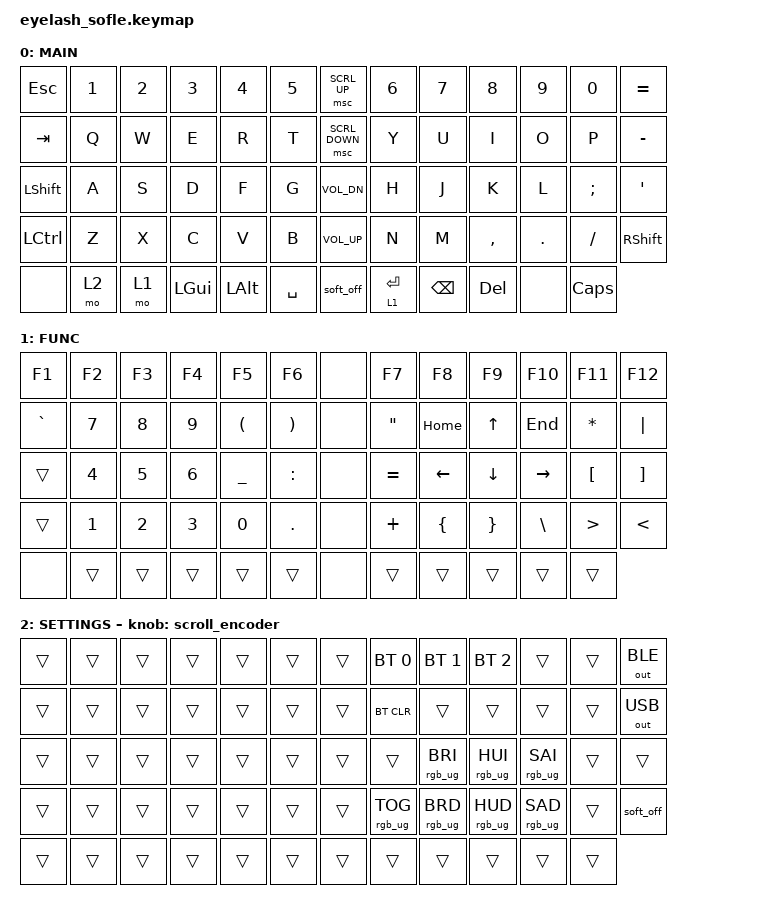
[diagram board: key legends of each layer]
#define ZMK_POINTING_DEFAULT_MOVE_VAL 1200  // 600
#define ZMK_POINTING_DEFAULT_SCRL_VAL 25   // 10

#include <input/processors.dtsi>
#include <zephyr/dt-bindings/input/input-event-codes.h>
#include <behaviors.dtsi>
#include <dt-bindings/zmk/bt.h>
#include <dt-bindings/zmk/keys.h>
#include <dt-bindings/zmk/outputs.h>
#include <dt-bindings/zmk/pointing.h>
#include <dt-bindings/zmk/rgb.h>

&mmv_input_listener { input-processors = <&zip_xy_scaler 2 1>; };

&msc_input_listener { input-processors = <&zip_scroll_scaler 2 1>; };

&msc {
    acceleration-exponent = <1>;      // 0
    time-to-max-speed-ms = <100>;       // 300
    delay-ms = <0>;                   // 0
};

&mmv {
    time-to-max-speed-ms = <500>;
    acceleration-exponent = <1>;
    trigger-period-ms = <16>;
};

&soft_off { hold-time-ms = <2000>; };

/ {
    scroll_encoder: scroll_encoder {
        compatible = "zmk,behavior-sensor-rotate";
        #sensor-binding-cells = <0>;
        bindings = <&msc SCRL_DOWN>, <&msc SCRL_UP>;

        tap-ms = <100>;
    };

    behaviors {
    };

    combos {
        compatible = "zmk,combos";

        softoff {
            bindings = <&soft_off>;
            key-positions = <14 28 40>;
        };
    };

    keymap {
        compatible = "zmk,keymap";

        MAIN {
            bindings = <
&kp ESC    &kp N1  &kp N2  &kp N3        &kp N4        &kp N5       &msc SCRL_UP    &kp N6       &kp N7         &kp N8      &kp N9   &kp N0        &kp EQUAL
&kp TAB    &kp Q   &kp W   &kp E         &kp R         &kp T        &msc SCRL_DOWN  &kp Y        &kp U          &kp I       &kp O    &kp P         &kp MINUS
&kp LSHFT  &kp A   &kp S   &kp D         &kp F         &kp G        &kp C_VOL_DN    &kp H        &kp J          &kp K       &kp L    &kp SEMI      &kp APOS
&kp LCTRL  &kp Z   &kp X   &kp C         &kp V         &kp B        &kp C_VOL_UP    &kp N        &kp M          &kp COMMA   &kp DOT  &kp FSLH      &kp RIGHT_SHIFT
&none      &mo 2   &mo 1   &kp LEFT_GUI  &kp LEFT_ALT  &kp SPACE    &soft_off       &lt 1 ENTER  &kp BACKSPACE  &kp DELETE  &none    &kp CAPSLOCK
            >;

            display-name = "MAIN";
        };

        FUNC {
            bindings = <
&kp F1     &kp F2  &kp F3  &kp F4  &kp F5                &kp F6                   &none  &kp F7             &kp F8          &kp F9           &kp F10        &kp F11           &kp F12
&kp GRAVE  &kp N7  &kp N8  &kp N9  &kp LEFT_PARENTHESIS  &kp RIGHT_PARENTHESIS    &none  &kp DOUBLE_QUOTES  &kp HOME        &kp UP           &kp END        &kp STAR          &kp PIPE
&trans     &kp N4  &kp N5  &kp N6  &kp UNDERSCORE        &kp COLON                &none  &kp EQUAL          &kp LEFT        &kp DOWN         &kp RIGHT      &kp LEFT_BRACKET  &kp RIGHT_BRACKET
&trans     &kp N1  &kp N2  &kp N3  &kp N0                &kp DOT                  &none  &kp PLUS           &kp LEFT_BRACE  &kp RIGHT_BRACE  &kp BACKSLASH  &kp GREATER_THAN  &kp LESS_THAN
&none      &trans  &trans  &trans  &trans                &trans                   &none  &trans             &trans          &trans           &trans         &trans
            >;

            display-name = "FUNC";
        };

        SETTINGS {
            bindings = <
&trans  &trans  &trans  &trans  &trans  &trans    &trans  &bt BT_SEL 0     &bt BT_SEL 1     &bt BT_SEL 2     &trans           &trans  &out OUT_BLE
&trans  &trans  &trans  &trans  &trans  &trans    &trans  &bt BT_CLR       &trans           &trans           &trans           &trans  &out OUT_USB
&trans  &trans  &trans  &trans  &trans  &trans    &trans  &trans           &rgb_ug RGB_BRI  &rgb_ug RGB_HUI  &rgb_ug RGB_SAI  &trans  &trans
&trans  &trans  &trans  &trans  &trans  &trans    &trans  &rgb_ug RGB_TOG  &rgb_ug RGB_BRD  &rgb_ug RGB_HUD  &rgb_ug RGB_SAD  &trans  &soft_off
&trans  &trans  &trans  &trans  &trans  &trans    &trans  &trans           &trans           &trans           &trans           &trans
            >;

            display-name = "SETTINGS";
            sensor-bindings = <&scroll_encoder>;
        };
    };
};
